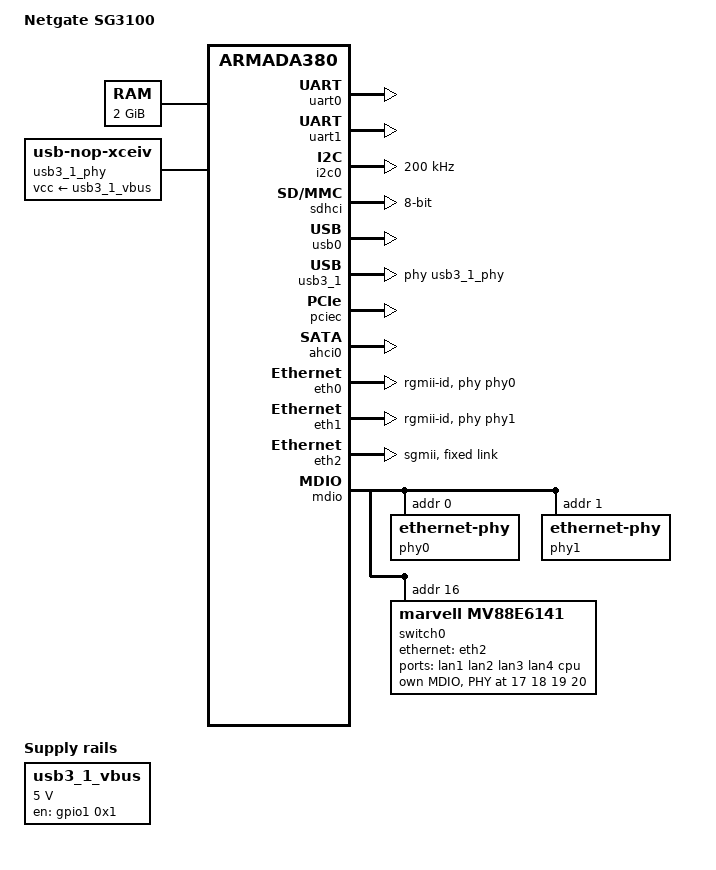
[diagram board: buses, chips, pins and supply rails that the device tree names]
/dts-v1/;
#include "armada-388.dtsi"
#include <dt-bindings/gpio/gpio.h>

// TODO:
// - LED/i2c devices
// - AHCI

/ {
	model = "Netgate SG3100";
	compatible = "netgate,sg3100", "marvell,armada388",
		"marvell,armada385", "marvell,armada380";

	chosen {
		stdout-path = "serial0:115200n8";
	};

	memory {
		device_type = "memory";
		reg = <0x00000000 0x80000000>; /* 2GiB */
	};

	soc {
		ranges = <
			MBUS_ID(0xf0, 0x01) 0 0xf1000000 0x100000
			MBUS_ID(0x01, 0x1d) 0 0xfff00000 0x100000
			MBUS_ID(0x09, 0x19) 0 0xf1100000 0x10000
			MBUS_ID(0x09, 0x15) 0 0xf1110000 0x10000
			>;
	};
};

&uart0 {
	status = "okay";
};

&uart1 {
	status = "okay";
	pinctrl-0 = <&uart1_pins>;
	pinctrl-names = "default";
};

&i2c0 {
	status = "okay";
	pinctrl-0 = <&i2c0_pins>;
	pinctrl-names = "default";
	clock-frequency = <200000>;

/*
	pca95520 {
		compatible = "nxp,pca9552";
		reg = <0x60>;
		gpio-controller;
		#gpio-cells = <2>;
	};
*/

/*
	is31f13199 {
		compatible = "issi,is31f13199";
		reg = <0x67>;
		gpio-controller;
		#gpio-cells = <2>;
	};
*/
};

&sdhci {
	status = "okay";
	no-1-8-v;
	dat3-cd;
	cd-inverted;
	wp-inverted;
	bus-width = <0x08>;
};

/ {
	usb3_1_phy: usb3_1_phy {
		compatible = "usb-nop-xceiv";
		vcc-supply = <&usb3_1_vbus>;
	};

	usb3_1_vbus: regulator-usb1-vbus {
		compatible = "regulator-fixed";
		pinctrl-0 = <&usb3_1_vbus_pins>;
		pinctrl-names = "default";
		gpios = <&gpio1 0x1 GPIO_ACTIVE_HIGH>;
		regulator-name = "usb3_1_vbus";
		regulator-min-microvolt = <5000000>;
		regulator-max-microvolt = <5000000>;
		enable-active-high;
	};
};

&usb0 {
	status = "okay";
};

&usb3_1 {
	status = "okay";
	usb-phy = <&usb3_1_phy>;
};

&pciec {
	status = "okay";
	/* mini-PCIe */
	pcie@1,0 {
		status = "okay";
	};

	/* M.2 E */
	pcie@2,0 {
		status = "okay";
	};
};

/* J10 - M.2 B?, 2280 */
/* J11 - M.2 B (w/USB)?, 2242 */
&ahci0 {
	status = "okay";
};

&eth0 {
	status = "okay";
	phy = <&phy0>;
	phy-mode = "rgmii-id";
};

&eth1 {
	status = "okay";
	phy = <&phy1>;
	phy-mode = "rgmii-id";
};

&eth2 {
	status = "okay";
	phy-mode = "sgmii";
	fixed-link {
		speed = <1000>;
		full-duplex;
	};
};

&pinctrl {
	usb3_1_vbus_pins: usb3_1-vbus-pins {
		marvell,pins = "mpp33";
		marvell,function = "gpio";
	};
};

&mdio {
	status = "okay";
	pinctrl-0 = <&mdio_pins>;
	pinctrl-names = "default";

	phy0: ethernet-phy@0 {
		status = "okay";
		reg = <0>;
	};

	phy1: ethernet-phy@1 {
		status = "okay";
		reg = <1>;
	};

	switch0: switch0@10 {
		compatible = "marvell,mv88e6141", "marvell,mv88e6085";
		single-chip-address;
		reg = <0x10>; /* first port in single address mode */
		dsa,member = <0 0>;

		ports {
			#address-cells = <1>;
			#size-cells = <0>;

			port@1 {
				reg = <1>;
				label = "lan1";
				phy-mode = "gmii";
				phy-handle = <&switch0phy0>;
			};

			port@2 {
				reg = <2>;
				label = "lan2";
				phy-mode = "gmii";
				phy-handle = <&switch0phy1>;
			};

			port@3 {
				reg = <3>;
				label = "lan3";
				phy-mode = "gmii";
				phy-handle = <&switch0phy2>;
			};

			port@4 {
				reg = <4>;
				label = "lan4";
				phy-mode = "gmii";
				phy-handle = <&switch0phy3>;
			};

			port@5 {
				reg = <5>;
				label = "cpu";
				ethernet = <&eth2>;
				phy-mode = "sgmii";
				fixed-link {
					speed = <1000>;
					full-duplex;
				};
			};
		};

		mdio {
			#address-cells = <1>;
			#size-cells = <0>;

			switch0phy0: switch0phy0@11 {
				reg = <0x11>;
			};

			switch0phy1: switch0phy1@12 {
				reg = <0x12>;
			};

			switch0phy2: switch0phy2@13 {
				reg = <0x13>;
			};

			switch0phy3: switch0phy3@14 {
				reg = <0x14>;
			};
		};
	};
};
